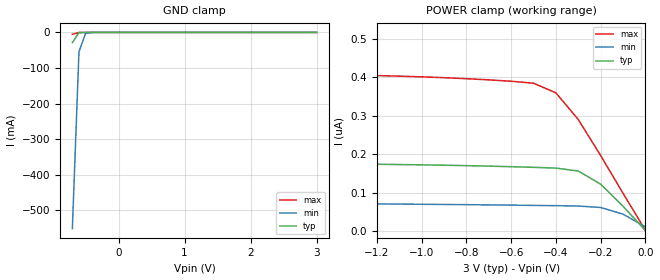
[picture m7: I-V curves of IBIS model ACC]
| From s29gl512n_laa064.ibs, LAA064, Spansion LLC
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[Model]   ACC
Model_type Input
Vinh=2.1
Vinl=0.9
C_comp   8.0pF   8.0pF   8.0pF
[Temperature Range] 27   100   0
[Voltage Range]   3.0   2.7   3.6
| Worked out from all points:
|   GND clamp passes 1 mA (typ) near -0.60 V on its own axis
[GND Clamp]
-700mV    -28.73mA   -551.1mA   -5.267mA
-600mV    -854uA     -54.38mA   -348.3uA
-500mV    -75.9uA    -2.76mA    -84.71uA
-300mV    -3.392uA   -12.76uA   -5.088uA
3V        1.412nA    64.97nA    -496.5nA
[POWER Clamp]
-3V       914.8nA    604.2nA    1.734uA
-2.9V     662.1nA    441nA      1.31uA
-2.8V     479.5nA    319.8nA    985.7nA
-2.7V     356.4nA    233.9nA    754.4nA
-2.5V     233.8nA    137.3nA    513.3nA
-2.4V     208.2nA    112.9nA    463.8nA
-2.1V     182nA      82.11nA    418nA
-500mV    165.7nA    66.6nA     384.6nA
-400mV    163.7nA    65.87nA    359.5nA
-300mV    156nA      64.97nA    290.1nA
-200mV    121.8nA    61.17nA    196.3nA
0V        1.412nA    10.87nA    1.579nA
